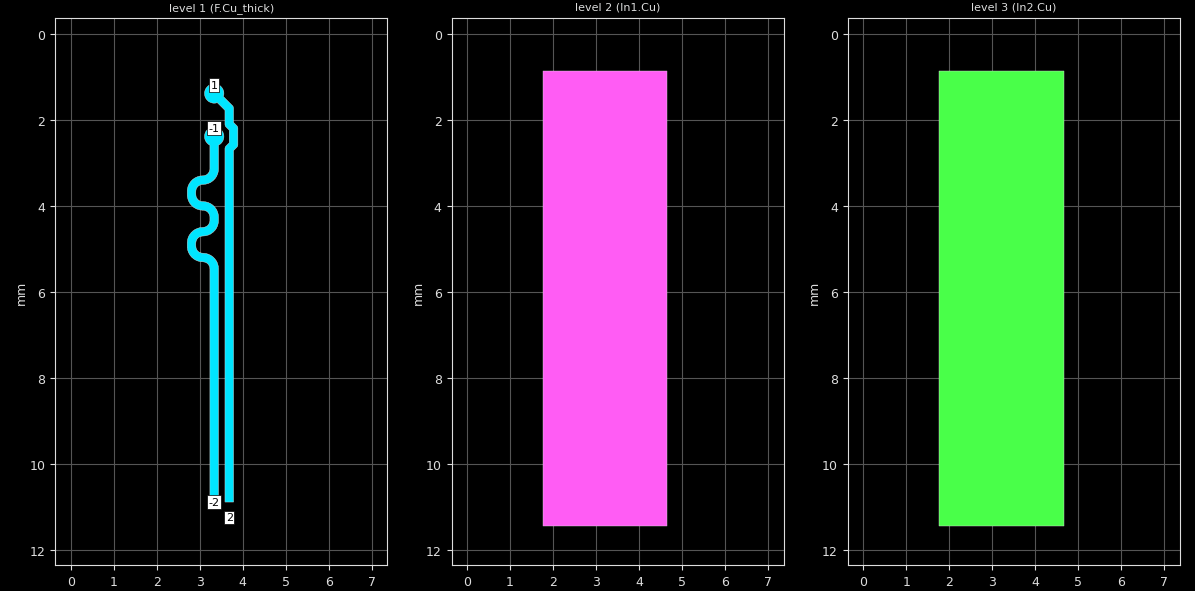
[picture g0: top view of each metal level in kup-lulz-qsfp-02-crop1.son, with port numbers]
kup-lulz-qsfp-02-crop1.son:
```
FTYP SONPROJ 19 ! Sonnet Project File
VER 18.56
HEADER
LIC antikernel2.1.52448
DAT 02/23/2024 10:19:40
BUILT_BY_CREATED dxf 18.56 02/22/2024 23:40:04
BUILT_BY_SAVED sonnet 18.56
MDATE 02/23/2024 10:19:40
HDATE 02/23/2024 10:19:40
ANN Created by dxfgeo, Sonnet Software Inc.
END HEADER
DIM
ANG DEG
CAP PF
CON /OH
FREQ GHZ
IND NH
LNG MM
RES OH
END DIM
CONTROL
VARSWP
OPTIONS  -dj
SPEED 1
CACHE_ABS 2
Q_ACC N
END CONTROL
GEO
TMET "Free Space" 0 FREESPACE 376.7303136 0 0 0
BMET "Free Space" 0 FREESPACE 376.7303136 0 0 0
MET "Copper_1oz+plated_thick_up" 1 TMM 58000000 0.5 0.0432 2
MET "Copper_1oz+plated_thin" 4 NOR 58000000 0.5 0.0432 
MET "Copper_0.5oz_thin" 2 NOR 58000000 0.5 0.0175 
MET "Copper_1oz+plated_thick_down" 3 TMM 58000000 0.5 0.0432 2 CDVY TDWN
BOX 6 7 12 560 960 20 0
      10 1 1 0 0 0 0 "Air"
      0.05 3.5 1 0.02 0 0 0 "Soldermask"
      0.2021 3.61 1 0.0092 0 0 0 "Isola_FR408HR"
      1.1938 3.61 1 0.0092 0 0 0 "Isola_FR408HR"
      0.2021 3.61 1 0.0092 0 0 0 "Isola_FR408HR"
      0.05 3.5 1 0.02 0 0 0 "Soldermask"
      10 1 1 0 0 0 0 "Air"
TECHLAY METAL F.Cu_thick L1D0 -1 -65534 CAD F.Cu drawing 
1 0 0 N 1844 1 1 100 100 0 0 0 Y
END
END
TECHLAY VIA Via1 L5D0 -7 -65534 CAD Via1 drawing 
VIA POLYGON
1 0 -1 N 2144 1 1 100 100 0 0 0 Y
TOLEVEL 4 RING NOCOVERS
END
END
TECHLAY METAL F.Cu_thin <UNSPECIFIED> -2 -65534 CAD F.Cu_thin drawing 
1 0 1 N 1848 1 1 100 100 0 0 0 Y
END
END
TECHLAY METAL In1.Cu L2D0 -3 -65534 CAD In1.Cu drawing 
2 0 2 N 1851 1 1 100 100 0 0 0 Y
END
END
TECHLAY METAL In2.Cu L3D0 -4 -65534 CAD In2.Cu drawing 
3 0 2 N 1854 1 1 100 100 0 0 0 Y
END
END
TECHLAY METAL B.Cu_thick L4D0 -5 -65534 CAD B.Cu drawing 
4 0 3 N 1857 1 1 100 100 0 0 0 Y
END
END
TECHLAY METAL B.Cu_thin <UNSPECIFIED> -6 -65534 CAD B.Cu_thin drawing 
4 0 1 N 1859 1 1 100 100 0 0 0 Y
END
END
LORGN 0 12 U 
POR1 CUP Auto
GNDREF AUTO
TERMW FEED
POLY 2103 1
243
-1 100 0 0 0 3.335 2.1855 
CUPGRP "Auto" LOCAL
ID 2142
END
POR1 CUP Auto
GNDREF AUTO
TERMW FEED
POLY 2103 1
472
-2 100 0 0 0 3.335 10.8855 
CUPGRP "Auto" LOCAL
ID 2150
END
POR1 CUP Auto
GNDREF AUTO
TERMW FEED
POLY 2104 1
44
1 100 0 0 0 3.335 1.1855 
CUPGRP "Auto" LOCAL
ID 2143
END
POR1 CUP Auto
GNDREF AUTO
TERMW FEED
POLY 2104 1
96
2 100 0 0 0 3.685 10.8855 
CUPGRP "Auto" LOCAL
ID 2152
END
NUM 4
1 475 0 N 2103 1 1 100 100 0 0 0 Y
TLAYNAM F.Cu_thick INH
3.435 5.455
3.434 5.45
3.431 5.417
3.43 5.404
3.429 5.402
3.429 5.397
3.428 5.395
3.427 5.389
3.426 5.385
3.425 5.383
3.418 5.359
3.418 5.355
3.415 5.345
3.412 5.336
3.389 5.285
3.384 5.277
3.378 5.269
3.377 5.268
3.359 5.243
3.358 5.242
3.354 5.235
3.348 5.227
3.338 5.217
3.316 5.196
3.315 5.195
3.31 5.189
3.302 5.182
3.256 5.15
3.248 5.145
3.239 5.141
3.232 5.139
3.229 5.138
3.211 5.129
3.21 5.128
3.202 5.125
3.201 5.124
3.199 5.123
3.19 5.12
3.184 5.119
3.152 5.11
3.15 5.109
3.138 5.106
3.132 5.105
3.128 5.105
3.119 5.104
3.085 5.101
3.075 5.1
3.038 5.096
3.006 5.087
2.978 5.071
2.955 5.052
2.937 5.03
2.919 4.998
2.911 4.969
2.907 4.931
2.907 4.866
2.91 4.835
2.918 4.805
2.928 4.784
2.945 4.759
2.966 4.738
2.986 4.724
3.018 4.71
3.042 4.703
3.074 4.7
3.075 4.7
3.131 4.695
3.133 4.694
3.138 4.694
3.14 4.693
3.146 4.692
3.15 4.691
3.152 4.69
3.176 4.683
3.18 4.683
3.19 4.68
3.199 4.677
3.25 4.654
3.258 4.649
3.266 4.643
3.267 4.642
3.292 4.624
3.293 4.623
3.3 4.619
3.308 4.613
3.318 4.603
3.339 4.581
3.34 4.58
3.346 4.575
3.353 4.567
3.385 4.521
3.39 4.513
3.394 4.504
3.396 4.497
3.397 4.494
3.406 4.476
3.407 4.475
3.41 4.467
3.411 4.466
3.412 4.464
3.415 4.455
3.416 4.449
3.425 4.417
3.426 4.415
3.429 4.403
3.43 4.397
3.43 4.393
3.431 4.384
3.434 4.351
3.435 4.341
3.435 4.255
3.434 4.25
3.431 4.217
3.43 4.204
3.429 4.202
3.429 4.197
3.428 4.195
3.427 4.189
3.426 4.185
3.425 4.183
3.418 4.159
3.418 4.155
3.415 4.145
3.412 4.136
3.389 4.085
3.384 4.077
3.378 4.069
3.377 4.068
3.359 4.043
3.358 4.042
3.354 4.035
3.348 4.027
3.338 4.017
3.316 3.996
3.315 3.995
3.31 3.989
3.302 3.982
3.256 3.95
3.248 3.945
3.239 3.941
3.232 3.939
3.229 3.938
3.211 3.929
3.21 3.928
3.202 3.925
3.201 3.924
3.199 3.923
3.19 3.92
3.184 3.919
3.152 3.91
3.15 3.909
3.138 3.906
3.132 3.905
3.128 3.905
3.119 3.904
3.085 3.901
3.075 3.9
3.038 3.896
3.006 3.887
2.978 3.871
2.955 3.852
2.937 3.83
2.919 3.798
2.911 3.769
2.907 3.731
2.907 3.666
2.91 3.635
2.918 3.605
2.928 3.584
2.945 3.559
2.966 3.538
2.986 3.524
3.018 3.51
3.042 3.503
3.074 3.5
3.075 3.5
3.131 3.495
3.133 3.494
3.138 3.494
3.14 3.493
3.146 3.492
3.15 3.491
3.152 3.49
3.176 3.483
3.18 3.483
3.19 3.48
3.199 3.477
3.25 3.454
3.258 3.449
3.266 3.443
3.267 3.442
3.292 3.424
3.293 3.423
3.3 3.419
3.308 3.413
3.318 3.403
3.339 3.381
3.34 3.38
3.346 3.375
3.353 3.367
3.385 3.321
3.39 3.313
3.394 3.304
3.396 3.297
3.397 3.294
3.406 3.276
3.407 3.275
3.41 3.267
3.411 3.266
3.412 3.264
3.415 3.255
3.416 3.249
3.425 3.217
3.426 3.215
3.429 3.203
3.43 3.197
3.43 3.193
3.431 3.184
3.434 3.151
3.435 3.141
3.435 2.587
3.451 2.579
3.469 2.567
3.486 2.553
3.502 2.537
3.516 2.52
3.528 2.502
3.538 2.482
3.547 2.462
3.553 2.441
3.558 2.419
3.56 2.397
3.56 2.375
3.558 2.353
3.553 2.331
3.547 2.31
3.538 2.29
3.528 2.27
3.516 2.252
3.502 2.235
3.486 2.219
3.469 2.205
3.451 2.193
3.436 2.1855
3.234 2.1855
3.219 2.193
3.201 2.205
3.184 2.219
3.168 2.235
3.154 2.252
3.142 2.27
3.132 2.29
3.123 2.31
3.117 2.331
3.112 2.353
3.11 2.375
3.11 2.397
3.112 2.419
3.117 2.441
3.123 2.462
3.132 2.482
3.142 2.502
3.154 2.52
3.168 2.537
3.184 2.553
3.201 2.567
3.219 2.579
3.235 2.587
3.235 3.133
3.232 3.165
3.225 3.189
3.211 3.221
3.197 3.241
3.176 3.262
3.151 3.279
3.13 3.289
3.1 3.297
3.069 3.3
3.067 3.3
3.058 3.301
3.023 3.304
3.014 3.305
3.01 3.305
3.004 3.306
2.992 3.309
2.99 3.31
2.958 3.319
2.952 3.32
2.943 3.323
2.941 3.324
2.94 3.325
2.932 3.328
2.931 3.329
2.913 3.338
2.91 3.339
2.903 3.341
2.894 3.345
2.886 3.35
2.84 3.382
2.832 3.389
2.827 3.395
2.826 3.396
2.804 3.417
2.794 3.427
2.788 3.435
2.784 3.442
2.783 3.443
2.765 3.468
2.764 3.469
2.758 3.477
2.753 3.485
2.73 3.536
2.727 3.545
2.724 3.555
2.724 3.559
2.717 3.583
2.716 3.585
2.715 3.589
2.714 3.595
2.713 3.597
2.713 3.602
2.712 3.604
2.711 3.617
2.708 3.65
2.707 3.655
2.707 3.741
2.708 3.751
2.712 3.792
2.712 3.793
2.713 3.803
2.715 3.812
2.733 3.871
2.736 3.88
2.741 3.889
2.757 3.917
2.758 3.919
2.76 3.926
2.765 3.934
2.771 3.943
2.777 3.95
2.803 3.982
2.804 3.983
2.81 3.99
2.817 3.997
2.824 4.003
2.826 4.005
2.832 4.009
2.857 4.03
2.864 4.036
2.873 4.042
2.927 4.071
2.936 4.075
2.945 4.078
2.951 4.079
2.976 4.086
2.983 4.088
2.985 4.089
2.995 4.092
3.004 4.094
3.066 4.1
3.068 4.1
3.1 4.103
3.124 4.11
3.156 4.124
3.176 4.138
3.197 4.159
3.214 4.184
3.224 4.205
3.232 4.235
3.235 4.266
3.235 4.333
3.232 4.365
3.225 4.389
3.211 4.421
3.197 4.441
3.176 4.462
3.151 4.479
3.13 4.489
3.1 4.497
3.069 4.5
3.067 4.5
3.058 4.501
3.023 4.504
3.014 4.505
3.01 4.505
3.004 4.506
2.992 4.509
2.99 4.51
2.958 4.519
2.952 4.52
2.943 4.523
2.941 4.524
2.94 4.525
2.932 4.528
2.931 4.529
2.913 4.538
2.91 4.539
2.903 4.541
2.894 4.545
2.886 4.55
2.84 4.582
2.832 4.589
2.827 4.595
2.826 4.596
2.804 4.617
2.794 4.627
2.788 4.635
2.784 4.642
2.783 4.643
2.765 4.668
2.764 4.669
2.758 4.677
2.753 4.685
2.73 4.736
2.727 4.745
2.724 4.755
2.724 4.759
2.717 4.783
2.716 4.785
2.715 4.789
2.714 4.795
2.713 4.797
2.713 4.802
2.712 4.804
2.711 4.817
2.708 4.85
2.707 4.855
2.707 4.941
2.708 4.951
2.712 4.992
2.712 4.993
2.713 5.003
2.715 5.012
2.733 5.071
2.736 5.08
2.741 5.089
2.757 5.117
2.758 5.119
2.76 5.126
2.765 5.134
2.771 5.143
2.777 5.15
2.803 5.182
2.804 5.183
2.81 5.19
2.817 5.197
2.824 5.203
2.826 5.205
2.832 5.209
2.857 5.23
2.864 5.236
2.873 5.242
2.927 5.271
2.936 5.275
2.945 5.278
2.951 5.279
2.976 5.286
2.983 5.288
2.985 5.289
2.995 5.292
3.004 5.294
3.066 5.3
3.068 5.3
3.1 5.303
3.124 5.31
3.156 5.324
3.176 5.338
3.197 5.359
3.214 5.384
3.224 5.405
3.232 5.435
3.235 5.466
3.235 10.8855
3.435 10.8855
3.435 5.455
END
1 99 0 N 2104 1 1 100 100 0 0 0 Y
TLAYNAM F.Cu_thick INH
3.785 2.713
3.845 2.653
3.852 2.647
3.859 2.64
3.859 2.639
3.865 2.632
3.871 2.624
3.876 2.616
3.879 2.607
3.882 2.597
3.884 2.587
3.885 2.578
3.885 2.195
3.884 2.185
3.882 2.176
3.879 2.166
3.876 2.157
3.871 2.149
3.865 2.14
3.859 2.133
3.785 2.059
3.785 1.731
3.784 1.721
3.782 1.712
3.779 1.702
3.776 1.693
3.771 1.685
3.765 1.676
3.759 1.669
3.548 1.458
3.553 1.441
3.558 1.419
3.56 1.397
3.56 1.375
3.558 1.353
3.553 1.331
3.547 1.31
3.538 1.29
3.528 1.27
3.516 1.252
3.502 1.235
3.486 1.219
3.469 1.205
3.451 1.193
3.436 1.1855
3.234 1.1855
3.219 1.193
3.201 1.205
3.184 1.219
3.168 1.235
3.154 1.252
3.142 1.27
3.132 1.29
3.123 1.31
3.117 1.331
3.112 1.353
3.11 1.375
3.11 1.397
3.112 1.419
3.117 1.441
3.123 1.462
3.132 1.482
3.142 1.502
3.154 1.52
3.168 1.537
3.184 1.553
3.201 1.567
3.219 1.579
3.239 1.589
3.259 1.598
3.28 1.604
3.302 1.609
3.324 1.611
3.346 1.611
3.368 1.609
3.39 1.604
3.407 1.599
3.585 1.777
3.585 2.105
3.586 2.115
3.588 2.124
3.591 2.134
3.594 2.143
3.599 2.151
3.605 2.16
3.611 2.167
3.685 2.241
3.685 2.531
3.611 2.605
3.605 2.612
3.599 2.621
3.594 2.629
3.591 2.638
3.588 2.648
3.586 2.657
3.585 2.667
3.585 10.8855
3.785 10.8855
3.785 2.713
END
2 5 2 N 2105 1 1 100 100 0 0 0 Y
TLAYNAM In1.Cu INH
4.66 0.8605
1.76 0.8605
1.76 11.45
4.66 11.45
4.66 0.8605
END
3 5 2 N 2106 1 1 100 100 0 0 0 Y
TLAYNAM In2.Cu INH
4.66 0.8605
1.76 0.8605
1.76 11.45
4.66 11.45
4.66 0.8605
END
END GEO
OPT
MAX 100
END OPT
VARSWP
ENABLED Y
FREQ Y AY ABS_ENTRY 0.1 40.0 -1 300 
END
END VARSWP
3DOPTIONS
GLOBAL 2
ALL 7 1
END 3DOPTIONS
```
